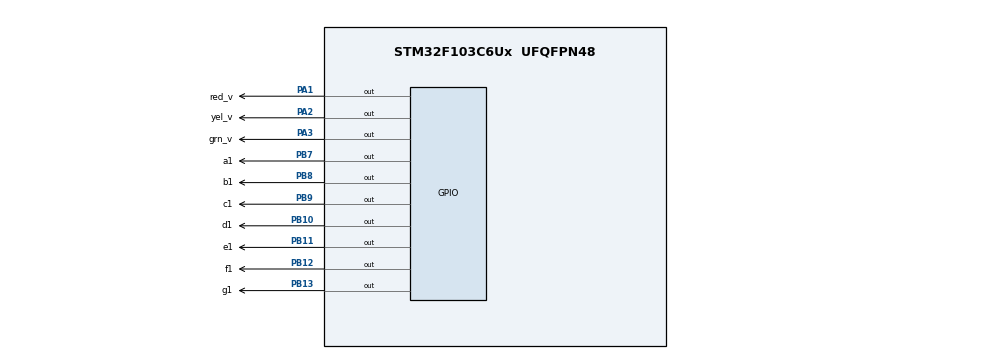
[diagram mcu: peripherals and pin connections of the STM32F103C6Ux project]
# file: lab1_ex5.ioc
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Mcu.Family=STM32F1
Mcu.Name=STM32F103C6Ux
Mcu.Package=UFQFPN48
NVIC.PriorityGroup=NVIC_PRIORITYGROUP_4
PA1.GPIO_Label=red_v
PA1.Signal=GPIO_Output
PA2.GPIO_Label=yel_v
PA2.Signal=GPIO_Output
PA3.GPIO_Label=grn_v
PA3.Signal=GPIO_Output
PB10.GPIO_Label=d1
PB10.Signal=GPIO_Output
PB11.GPIO_Label=e1
PB11.Signal=GPIO_Output
PB12.GPIO_Label=f1
PB12.Signal=GPIO_Output
PB13.GPIO_Label=g1
PB13.Signal=GPIO_Output
PB7.GPIO_Label=a1
PB7.Signal=GPIO_Output
PB8.GPIO_Label=b1
PB8.Signal=GPIO_Output
PB9.GPIO_Label=c1
PB9.Signal=GPIO_Output
ProjectManager.HeapSize=0x200
ProjectManager.StackSize=0x400
ProjectManager.TargetToolchain=STM32CubeIDE
RCC.APB1Freq_Value=8000000
RCC.APB2Freq_Value=8000000
VP_SYS_VS_ND.Mode=No_Debug
board=custom

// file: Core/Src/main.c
/* USER CODE BEGIN Header */
/**
  ******************************************************************************
  * @file           : main.c
  * @brief          : Main program body
  ******************************************************************************
  * @attention
  *
  * <h2><center>&copy; Copyright (c) 2025 STMicroelectronics.
  * All rights reserved.</center></h2>
  *
  * This software component is licensed by ST under BSD 3-Clause license,
  * the "License"; You may not use this file except in compliance with the
  * License. You may obtain a copy of the License at:
  *                        opensource.org/licenses/BSD-3-Clause
  *
  ******************************************************************************
  */
/* USER CODE END Header */
#include "main.h"

void SystemClock_Config(void);
static void MX_GPIO_Init(void);

int main(void)
{

  /* MCU Configuration--------------------------------------------------------*/

  /* Reset of all peripherals, Initializes the Flash interface and the Systick. */
  HAL_Init();

  /* Configure the system clock */
  SystemClock_Config();

  /* Initialize all configured peripherals */
  MX_GPIO_Init();

  /* Infinite loop */
  /* USER CODE BEGIN WHILE */
  while (1)
  {
      // RED: 5 giây
      HAL_GPIO_WritePin(GPIOA, red_v_Pin, GPIO_PIN_SET);
      HAL_GPIO_WritePin(GPIOA, yel_v_Pin, GPIO_PIN_RESET);
      HAL_GPIO_WritePin(GPIOA, grn_v_Pin, GPIO_PIN_RESET);
      for(int t = 5; t > 0; t--) {
          display7SEG(t);
          HAL_Delay(1000);
      }

      // GREEN: 3 giây
      HAL_GPIO_WritePin(GPIOA, red_v_Pin, GPIO_PIN_RESET);
      HAL_GPIO_WritePin(GPIOA, yel_v_Pin, GPIO_PIN_RESET);
      HAL_GPIO_WritePin(GPIOA, grn_v_Pin, GPIO_PIN_SET);
      for(int t = 3; t > 0; t--) {
          display7SEG(t);
          HAL_Delay(1000);
      }

      // YELLOW: 2 giây
      HAL_GPIO_WritePin(GPIOA, red_v_Pin, GPIO_PIN_RESET);
      HAL_GPIO_WritePin(GPIOA, yel_v_Pin, GPIO_PIN_SET);
      HAL_GPIO_WritePin(GPIOA, grn_v_Pin, GPIO_PIN_RESET);
      for(int t = 2; t > 0; t--) {
          display7SEG(t);
          HAL_Delay(1000);
      }
  }

  /* USER CODE END 3 */
}

void SystemClock_Config(void)
{
  RCC_OscInitTypeDef RCC_OscInitStruct = {0};
  RCC_ClkInitTypeDef RCC_ClkInitStruct = {0};

  /** Initializes the RCC Oscillators according to the specified parameters
  * in the RCC_OscInitTypeDef structure.
  */
  RCC_OscInitStruct.OscillatorType = RCC_OSCILLATORTYPE_HSI;
  RCC_OscInitStruct.HSIState = RCC_HSI_ON;
  RCC_OscInitStruct.HSICalibrationValue = RCC_HSICALIBRATION_DEFAULT;
  RCC_OscInitStruct.PLL.PLLState = RCC_PLL_NONE;
  if (HAL_RCC_OscConfig(&RCC_OscInitStruct) != HAL_OK)
  {
    Error_Handler();
  }
  /** Initializes the CPU, AHB and APB buses clocks
  */
  RCC_ClkInitStruct.ClockType = RCC_CLOCKTYPE_HCLK|RCC_CLOCKTYPE_SYSCLK
                              |RCC_CLOCKTYPE_PCLK1|RCC_CLOCKTYPE_PCLK2;
  RCC_ClkInitStruct.SYSCLKSource = RCC_SYSCLKSOURCE_HSI;
  RCC_ClkInitStruct.AHBCLKDivider = RCC_SYSCLK_DIV1;
  RCC_ClkInitStruct.APB1CLKDivider = RCC_HCLK_DIV1;
  RCC_ClkInitStruct.APB2CLKDivider = RCC_HCLK_DIV1;

  if (HAL_RCC_ClockConfig(&RCC_ClkInitStruct, FLASH_LATENCY_0) != HAL_OK)
  {
    Error_Handler();
  }
}

static void MX_GPIO_Init(void)
{
  GPIO_InitTypeDef GPIO_InitStruct = {0};

  /* GPIO Ports Clock Enable */
  __HAL_RCC_GPIOA_CLK_ENABLE();
  __HAL_RCC_GPIOB_CLK_ENABLE();

  /*Configure GPIO pin Output Level */
  HAL_GPIO_WritePin(GPIOA, red_v_Pin|yel_v_Pin|grn_v_Pin, GPIO_PIN_RESET);

  /*Configure GPIO pin Output Level */
  HAL_GPIO_WritePin(GPIOB, d1_Pin|e1_Pin|g1_Pin|f1_Pin
                          |a1_Pin|b1_Pin|c1_Pin, GPIO_PIN_RESET);

  /*Configure GPIO pins : red_v_Pin yel_v_Pin grn_v_Pin */
  GPIO_InitStruct.Pin = red_v_Pin|yel_v_Pin|grn_v_Pin;
  GPIO_InitStruct.Mode = GPIO_MODE_OUTPUT_PP;
  GPIO_InitStruct.Pull = GPIO_NOPULL;
  GPIO_InitStruct.Speed = GPIO_SPEED_FREQ_LOW;
  HAL_GPIO_Init(GPIOA, &GPIO_InitStruct);

  /*Configure GPIO pins : d1_Pin e1_Pin g1_Pin f1_Pin
                           a1_Pin b1_Pin c1_Pin */
  GPIO_InitStruct.Pin = d1_Pin|e1_Pin|g1_Pin|f1_Pin
                          |a1_Pin|b1_Pin|c1_Pin;
  GPIO_InitStruct.Mode = GPIO_MODE_OUTPUT_PP;
  GPIO_InitStruct.Pull = GPIO_NOPULL;
  GPIO_InitStruct.Speed = GPIO_SPEED_FREQ_LOW;
  HAL_GPIO_Init(GPIOB, &GPIO_InitStruct);

}

/* USER CODE BEGIN 4 */
void display7SEG(int num)
{
    // Bảng mã cho số 0-9 (0 = bật, 1 = tắt)
    const uint8_t seg_code[10][7] = {
        {0,0,0,0,0,0,1}, // 0
        {1,0,0,1,1,1,1}, // 1
        {0,0,1,0,0,1,0}, // 2
        {0,0,0,0,1,1,0}, // 3
        {1,0,0,1,1,0,0}, // 4
        {0,1,0,0,1,0,0}, // 5
        {0,1,0,0,0,0,0}, // 6
        {0,0,0,1,1,1,1}, // 7
        {0,0,0,0,0,0,0}, // 8
        {0,0,0,0,1,0,0}  // 9
    };

    if(num < 0 || num > 9) return;

    HAL_GPIO_WritePin(GPIOB, a1_Pin, seg_code[num][0] ? GPIO_PIN_SET : GPIO_PIN_RESET);
    HAL_GPIO_WritePin(GPIOB, b1_Pin, seg_code[num][1] ? GPIO_PIN_SET : GPIO_PIN_RESET);
    HAL_GPIO_WritePin(GPIOB, c1_Pin, seg_code[num][2] ? GPIO_PIN_SET : GPIO_PIN_RESET);
    HAL_GPIO_WritePin(GPIOB, d1_Pin, seg_code[num][3] ? GPIO_PIN_SET : GPIO_PIN_RESET);
    HAL_GPIO_WritePin(GPIOB, e1_Pin, seg_code[num][4] ? GPIO_PIN_SET : GPIO_PIN_RESET);
    HAL_GPIO_WritePin(GPIOB, f1_Pin, seg_code[num][5] ? GPIO_PIN_SET : GPIO_PIN_RESET);
    HAL_GPIO_WritePin(GPIOB, g1_Pin, seg_code[num][6] ? GPIO_PIN_SET : GPIO_PIN_RESET);
}
/* USER CODE END 4 */

void Error_Handler(void)
{
  __disable_irq();
  while (1)
  {
  }
}

/************************ (C) COPYRIGHT STMicroelectronics *****END OF FILE****/
